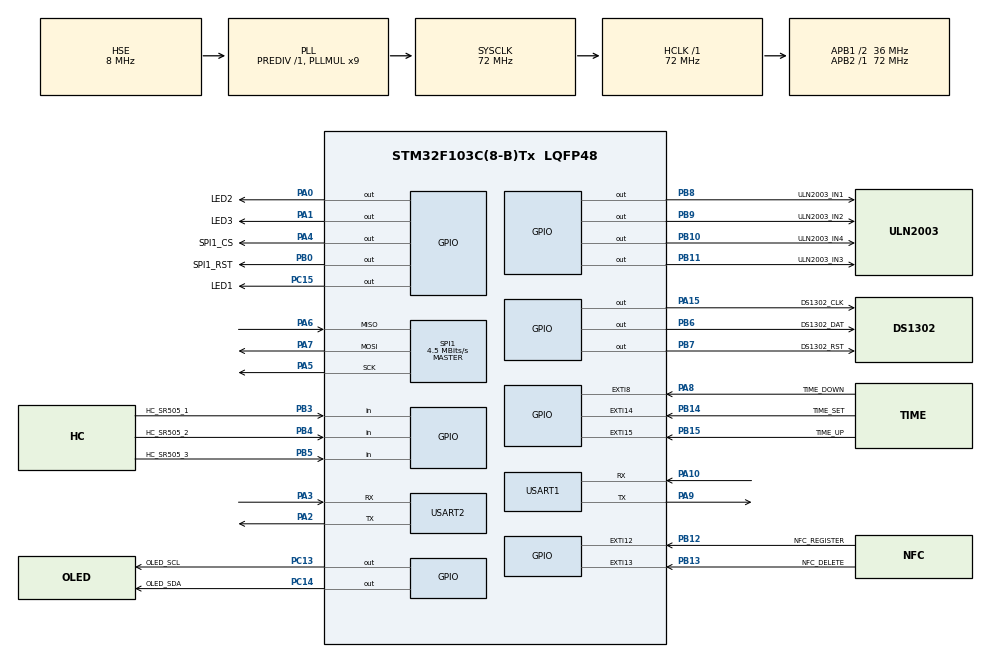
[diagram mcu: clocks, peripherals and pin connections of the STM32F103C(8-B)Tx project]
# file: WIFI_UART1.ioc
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Dma.Request0=USART1_TX
Dma.Request1=USART1_RX
Dma.USART1_RX.1.Direction=DMA_PERIPH_TO_MEMORY
Dma.USART1_RX.1.Instance=DMA1_Channel5
Dma.USART1_RX.1.MemDataAlignment=DMA_MDATAALIGN_BYTE
Dma.USART1_RX.1.MemInc=DMA_MINC_ENABLE
Dma.USART1_RX.1.Mode=DMA_NORMAL
Dma.USART1_RX.1.PeriphDataAlignment=DMA_PDATAALIGN_BYTE
Dma.USART1_RX.1.PeriphInc=DMA_PINC_DISABLE
Dma.USART1_RX.1.Priority=DMA_PRIORITY_LOW
Dma.USART1_TX.0.Direction=DMA_MEMORY_TO_PERIPH
Dma.USART1_TX.0.Instance=DMA1_Channel4
Dma.USART1_TX.0.MemDataAlignment=DMA_MDATAALIGN_BYTE
Dma.USART1_TX.0.MemInc=DMA_MINC_ENABLE
Dma.USART1_TX.0.Mode=DMA_NORMAL
Dma.USART1_TX.0.PeriphDataAlignment=DMA_PDATAALIGN_BYTE
Dma.USART1_TX.0.PeriphInc=DMA_PINC_DISABLE
Dma.USART1_TX.0.Priority=DMA_PRIORITY_LOW
Mcu.Family=STM32F1
Mcu.Name=STM32F103C(8-B)Tx
Mcu.Package=LQFP48
NVIC.DMA1_Channel4_IRQn=true\:0\:0\:false\:false\:true\:false\:true\:true
NVIC.DMA1_Channel5_IRQn=true\:0\:0\:false\:false\:true\:false\:true\:true
NVIC.EXTI15_10_IRQn=true\:0\:0\:false\:false\:true\:true\:true\:true
NVIC.EXTI9_5_IRQn=true\:0\:0\:false\:false\:true\:true\:true\:true
NVIC.PriorityGroup=NVIC_PRIORITYGROUP_4
NVIC.SPI1_IRQn=true\:0\:0\:false\:false\:true\:true\:true\:true
NVIC.TIM4_IRQn=true\:3\:0\:true\:false\:true\:true\:true\:true
NVIC.USART1_IRQn=true\:2\:0\:true\:false\:true\:true\:true\:true
PA0-WKUP.GPIO_Label=LED2
PA0-WKUP.GPIO_PuPd=GPIO_PULLUP
PA0-WKUP.GPIO_Speed=GPIO_SPEED_FREQ_HIGH
PA0-WKUP.PinState=GPIO_PIN_SET
PA0-WKUP.Signal=GPIO_Output
PA1.GPIO_Label=LED3
PA1.GPIO_ModeDefaultOutputPP=GPIO_MODE_OUTPUT_PP
PA1.GPIO_PuPd=GPIO_PULLUP
PA1.GPIO_Speed=GPIO_SPEED_FREQ_HIGH
PA1.PinState=GPIO_PIN_SET
PA1.Signal=GPIO_Output
PA10.Mode=Asynchronous
PA10.Signal=USART1_RX
PA13.Mode=Serial_Wire
PA13.Signal=SYS_JTMS-SWDIO
PA14.Mode=Serial_Wire
PA14.Signal=SYS_JTCK-SWCLK
PA15.GPIO_Label=DS1302_CLK
PA15.Signal=GPIO_Output
PA2.Mode=Asynchronous
PA2.Signal=USART2_TX
PA3.Mode=Asynchronous
PA3.Signal=USART2_RX
PA4.GPIO_Label=SPI1_CS
PA4.GPIO_ModeDefaultOutputPP=GPIO_MODE_OUTPUT_PP
PA4.GPIO_PuPd=GPIO_PULLUP
PA4.GPIO_Speed=GPIO_SPEED_FREQ_HIGH
PA4.PinState=GPIO_PIN_SET
PA4.Signal=GPIO_Output
PA5.Mode=Full_Duplex_Master
PA5.Signal=SPI1_SCK
PA6.Mode=Full_Duplex_Master
PA6.Signal=SPI1_MISO
PA7.Mode=Full_Duplex_Master
PA7.Signal=SPI1_MOSI
PA8.GPIO_Label=TIME_DOWN
PA8.GPIO_ModeDefaultEXTI=GPIO_MODE_IT_FALLING
PA8.GPIO_PuPd=GPIO_PULLUP
PA8.Signal=GPXTI8
PA9.Mode=Asynchronous
PA9.Signal=USART1_TX
PB0.GPIO_Label=SPI1_RST
PB0.GPIO_ModeDefaultOutputPP=GPIO_MODE_OUTPUT_PP
PB0.GPIO_PuPd=GPIO_PULLUP
PB0.GPIO_Speed=GPIO_SPEED_FREQ_HIGH
PB0.PinState=GPIO_PIN_SET
PB0.Signal=GPIO_Output
PB10.GPIO_Label=ULN2003_IN4
PB10.GPIO_ModeDefaultOutputPP=GPIO_MODE_OUTPUT_PP
PB10.GPIO_PuPd=GPIO_PULLUP
PB10.GPIO_Speed=GPIO_SPEED_FREQ_HIGH
PB10.PinState=GPIO_PIN_SET
PB10.Signal=GPIO_Output
PB11.GPIO_Label=ULN2003_IN3
PB11.GPIO_ModeDefaultOutputPP=GPIO_MODE_OUTPUT_PP
PB11.GPIO_PuPd=GPIO_PULLUP
PB11.GPIO_Speed=GPIO_SPEED_FREQ_HIGH
PB11.PinState=GPIO_PIN_SET
PB11.Signal=GPIO_Output
PB12.GPIO_Label=NFC_REGISTER
PB12.GPIO_ModeDefaultEXTI=GPIO_MODE_IT_FALLING
PB12.GPIO_PuPd=GPIO_PULLUP
PB12.Signal=GPXTI12
PB13.GPIO_Label=NFC_DELETE
PB13.GPIO_ModeDefaultEXTI=GPIO_MODE_IT_FALLING
PB13.GPIO_PuPd=GPIO_PULLUP
PB13.Signal=GPXTI13
PB14.GPIO_Label=TIME_SET
PB14.GPIO_ModeDefaultEXTI=GPIO_MODE_IT_FALLING
PB14.GPIO_PuPd=GPIO_PULLUP
PB14.Signal=GPXTI14
PB15.GPIO_Label=TIME_UP
PB15.GPIO_ModeDefaultEXTI=GPIO_MODE_IT_FALLING
PB15.GPIO_PuPd=GPIO_PULLUP
PB15.Signal=GPXTI15
PB3.GPIO_Label=HC_SR505_1
PB3.GPIO_PuPd=GPIO_PULLDOWN
PB3.Signal=GPIO_Input
PB4.GPIO_Label=HC_SR505_2
PB4.GPIO_PuPd=GPIO_PULLDOWN
PB4.Signal=GPIO_Input
PB5.GPIO_Label=HC_SR505_3
PB5.GPIO_PuPd=GPIO_PULLDOWN
PB5.Signal=GPIO_Input
PB6.GPIO_Label=DS1302_DAT
PB6.Signal=GPIO_Output
PB7.GPIO_Label=DS1302_RST
PB7.Signal=GPIO_Output
PB8.GPIO_Label=ULN2003_IN1
PB8.GPIO_PuPd=GPIO_PULLUP
PB8.GPIO_Speed=GPIO_SPEED_FREQ_HIGH
PB8.Signal=GPIO_Output
PB9.GPIO_Label=ULN2003_IN2
PB9.GPIO_PuPd=GPIO_PULLUP
PB9.GPIO_Speed=GPIO_SPEED_FREQ_HIGH
PB9.Signal=GPIO_Output
PC13-TAMPER-RTC.GPIO_Label=OLED_SCL
PC13-TAMPER-RTC.GPIO_PuPd=GPIO_PULLUP
PC13-TAMPER-RTC.GPIO_Speed=GPIO_SPEED_FREQ_HIGH
PC13-TAMPER-RTC.PinState=GPIO_PIN_SET
PC13-TAMPER-RTC.Signal=GPIO_Output
PC14-OSC32_IN.GPIO_Label=OLED_SDA
PC14-OSC32_IN.GPIO_PuPd=GPIO_PULLUP
PC14-OSC32_IN.GPIO_Speed=GPIO_SPEED_FREQ_HIGH
PC14-OSC32_IN.PinState=GPIO_PIN_SET
PC14-OSC32_IN.Signal=GPIO_Output
PC15-OSC32_OUT.GPIO_Label=LED1
PC15-OSC32_OUT.GPIO_ModeDefaultOutputPP=GPIO_MODE_OUTPUT_PP
PC15-OSC32_OUT.GPIO_PuPd=GPIO_PULLUP
PC15-OSC32_OUT.GPIO_Speed=GPIO_SPEED_FREQ_HIGH
PC15-OSC32_OUT.Signal=GPIO_Output
PD0-OSC_IN.Mode=HSE-External-Oscillator
PD0-OSC_IN.Signal=RCC_OSC_IN
PD1-OSC_OUT.Mode=HSE-External-Oscillator
PD1-OSC_OUT.Signal=RCC_OSC_OUT
ProjectManager.HeapSize=0x200
ProjectManager.StackSize=0x400
ProjectManager.TargetToolchain=MDK-ARM V5.32
RCC.AHBFreq_Value=72000000
RCC.APB1CLKDivider=RCC_HCLK_DIV2
RCC.APB1Freq_Value=36000000
RCC.APB1TimFreq_Value=72000000
RCC.APB2Freq_Value=72000000
RCC.APB2TimFreq_Value=72000000
RCC.HCLKFreq_Value=72000000
RCC.PLLMUL=RCC_PLL_MUL9
RCC.PLLSourceVirtual=RCC_PLLSOURCE_HSE
RCC.SYSCLKFreq_VALUE=72000000
RCC.SYSCLKSource=RCC_SYSCLKSOURCE_PLLCLK
RCC.USBFreq_Value=72000000
SPI1.BaudRatePrescaler=SPI_BAUDRATEPRESCALER_16
SPI1.CalculateBaudRate=4.5 MBits/s
SPI1.Direction=SPI_DIRECTION_2LINES
SPI1.Mode=SPI_MODE_MASTER
SPI1.VirtualType=VM_MASTER
TIM4.Period=9999
TIM4.Prescaler=7199
USART1.VirtualMode=VM_ASYNC
USART2.VirtualMode=VM_ASYNC
VP_TIM4_VS_ClockSourceINT.Mode=Internal
board=custom

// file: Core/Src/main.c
/* USER CODE BEGIN Header */
/**
  ******************************************************************************
  * @file           : main.c
  * @brief          : Main program body
  ******************************************************************************
  * @attention
  *
  * Copyright (c) 2026 STMicroelectronics.
  * All rights reserved.
  *
  * This software is licensed under terms that can be found in the LICENSE file
  * in the root directory of this software component.
  * If no LICENSE file comes with this software, it is provided AS-IS.
  *
  ******************************************************************************
  */
/* USER CODE END Header */
#include "main.h"
#include "dma.h"
#include "spi.h"
#include "tim.h"
#include "usart.h"
#include "gpio.h"

/* USER CODE BEGIN Includes */
#include "delay.h"
#include "esp8266.h"
#include "oled.h"
#include "hc_sr505.h"
#include "uln2003.h"
#include "rc522.h"
#include "ds1302.h"
#include "flash.h"
#include "mqtt_publisher.h"
/* USER CODE END Includes */

/* USER CODE BEGIN PTD */
#define TEST 0
/* USER CODE END PTD */

/* USER CODE BEGIN PV */
uint8_t oled_show_active = 0;
/* USER CODE END PV */

void SystemClock_Config(void);

int main(void)
{

  /* USER CODE BEGIN 1 */
  uint8_t wifi_try = 0, mqtt_try = 0;
		  uint8_t cardid[4]={0x00,0x00,0x00,0x00};
	char data_show[20];
			uint8_t g_ucTempbuf[20];
	uint32_t oled_show_time = 0;

		// 卡片进出状态跟踪数组，与Flash中的ID存储位置对应
		// 0=卡片在内部（已进），1=卡片在外部（已出或未进）
		uint8_t card_status[10] = {1, 1, 1, 1, 1, 1, 1, 1, 1, 1}; // 默认所有卡片都在外部
		char time_str[20]; // 时间字符串缓冲区

		// 防重复检测变量
		uint8_t last_cardid[4] = {0x00, 0x00, 0x00, 0x00}; // 上次检测到的卡号
		uint8_t card_present = 0; // 卡片是否在场：0=不在，1=在场
  /* USER CODE END 1 */

  /* MCU Configuration--------------------------------------------------------*/

  /* Reset of all peripherals, Initializes the Flash interface and the Systick. */
  HAL_Init();

  /* Configure the system clock */
  SystemClock_Config();

  /* Initialize all configured peripherals */
  MX_GPIO_Init();
  MX_DMA_Init();
  MX_USART1_UART_Init();
  MX_TIM4_Init();
  MX_USART2_UART_Init();
  MX_SPI1_Init();
  /* USER CODE BEGIN 2 */
	//NFC初始化
	PCD_Reset();
  PCD_AntennaOff();
  PCD_AntennaOn();
  Delay_Init();
	OLED_Init();
	DS1302_Init();
	ULN2003_Init();
	Flash_Init();

	#if TEST
	  //OLED TEST
//	 OLED_ShowString(0,0,(uint8_t*)"hello",8,1);
//	 OLED_ShowString(0,8,(uint8_t*)"Welcome",8,1);
//	 OLED_Refresh();
	#endif
  /* USER CODE END 2 */

  /* Infinite loop */
  /* USER CODE BEGIN WHILE */
	ESP8266_Init();
//

  //WIFI连接
  while (wifi_try < 5 && !ESP8266_ConnectWiFi())
  {
      HAL_UART_Transmit(&huart2, (uint8_t*)"WiFi connect retry\r\n", 20, 100);
      wifi_try++;
      delay_ms(1000);
  }
  //上云
	if(ESP8266_ConnectCloud()==false)
	{
		  HAL_UART_Transmit(&huart2, (uint8_t*)"ConnectCloud failed\r\n", 22, 100);
		  while(1);
	}

	// 订阅发布属性回复主题（OneNET要求）
	if(!ESP8266_MQTT_Subscribe(MQTT_TOPIC_POST_REPLY,1))
	{
		  HAL_UART_Transmit(&huart2, (uint8_t*)"MQTT subscribe post_reply failed\r\n", 32, 100);
		  while(1);
	}

	if(!ESP8266_MQTT_Subscribe(MQTT_TOPIC_SET,0))
	{
		  HAL_UART_Transmit(&huart2, (uint8_t*)"MQTT subscribe failed\r\n", 22, 100);
		  while(1);
	}
	// 启动定时器4，用于每秒读取DS1302时间
	HAL_TIM_Base_Start_IT(&htim4);

	// 初始化NFC检测时间戳
	uint32_t nfc_last_check_time = 0;
	const uint32_t NFC_CHECK_INTERVAL = 100; // NFC检测间隔100ms

	OLED_Clear();
  while (1)
  {
    /* USER CODE END WHILE */

    /* USER CODE BEGIN 3 */
		#if 1
		uint8_t cardid[4] = {0x00, 0x00, 0x00, 0x00};
		char data_show[20];
		uint32_t current_time = HAL_GetTick();

		// 处理非阻塞式电机控制（每次循环都调用，确保电机转动流畅）
		ULN2003_Handle_NB();
		ESP8266_ProcessMessages();

		// 处理时间显示更新（从定时器中断中移出，避免与OLED冲突）
		show_time_from_main();

		// NFC检测使用基于时间戳的间隔控制
		if((current_time - nfc_last_check_time) >= NFC_CHECK_INTERVAL)
		{
			nfc_last_check_time = current_time;

			if(nfc_register_mode && nfc_delete_mode)
			{
				HAL_UART_Transmit(&huart2, (uint8_t*)"ERROR: Both modes ON\r\n", 22, 100);
				nfc_register_mode = false;
				nfc_delete_mode = false;
			}

			if(nfc_register_mode)
			{
				HAL_UART_Transmit(&huart2, (uint8_t*)"Reg mode\r\n", 10, 100);
				if(PCD_Request(PICC_REQALL, g_ucTempbuf) == PCD_OK)
				{
					if(PCD_Anticoll(cardid) == PCD_OK)
					{
						uint8_t found = Flash_FindID(cardid);
						if(found == 0xFF)
						{
							uint8_t ids[40];
							Flash_ReadIDs(ids);
							uint8_t empty_index = 0xFF;
							for(uint8_t i = 0; i < 10; i++)
							{
								uint8_t empty = 1;
								for(uint8_t j = 0; j < 4; j++)
								{
									if(ids[i * 4 + j] != 0xFF)
									{
										empty = 0;
										break;
									}
								}
								if(empty)
								{
									empty_index = i;
									break;
								}
							}
							if(empty_index != 0xFF)
							{
								Flash_WriteID(empty_index, cardid);
								sprintf(data_show, "Reg:%02X%02X%02X%02X", cardid[0], cardid[1], cardid[2], cardid[3]);
								// 清空第1、2、3行
								OLED_ShowString(0, 8, (uint8_t*)"                ", 8, 1);
								OLED_ShowString(0, 16, (uint8_t*)"                ", 8, 1);
								OLED_ShowString(0, 24, (uint8_t*)"                ", 8, 1);
								OLED_ShowString(0, 8, (uint8_t*)data_show, 8, 1);
								oled_show_time = HAL_GetTick();
								oled_show_active = 1;
							}
							else
							{
								// 清空第1、2、3行
								OLED_ShowString(0, 8, (uint8_t*)"                ", 8, 1);
								OLED_ShowString(0, 16, (uint8_t*)"                ", 8, 1);
								OLED_ShowString(0, 24, (uint8_t*)"                ", 8, 1);
								OLED_ShowString(0, 8, (uint8_t*)"Full", 8, 1);
								oled_show_time = HAL_GetTick();
								oled_show_active = 1;
							}
							OLED_Refresh();
							PCD_Halt();
							nfc_register_mode = false;
							HAL_UART_Transmit(&huart2, (uint8_t*)"Reg mode exit\r\n", 15, 100);
						}
						else
						{
							// 清空第1、2、3行
							OLED_ShowString(0, 8, (uint8_t*)"                ", 8, 1);
							OLED_ShowString(0, 16, (uint8_t*)"                ", 8, 1);
							OLED_ShowString(0, 24, (uint8_t*)"                ", 8, 1);
							OLED_ShowString(0, 8, (uint8_t*)"ID already reg", 8, 1);
							OLED_Refresh();
							delay_ms(1000);
							OLED_ShowString(0, 8, (uint8_t*)"                ", 8, 1);
							OLED_Refresh();
							nfc_register_mode = false;
							PCD_Halt();
							HAL_UART_Transmit(&huart2, (uint8_t*)"Reg mode exit\r\n", 15, 100);
						}
					}
				}
			}
			else if(nfc_delete_mode)
			{
				HAL_UART_Transmit(&huart2, (uint8_t*)"Del mode\r\n", 10, 100);
				if(PCD_Request(PICC_REQALL, g_ucTempbuf) == PCD_OK)
				{
					HAL_UART_Transmit(&huart2, (uint8_t*)"Card detected\r\n", 15, 100);
					if(PCD_Anticoll(cardid) == PCD_OK)
					{
						HAL_UART_Transmit(&huart2, (uint8_t*)"Card ID read\r\n", 14, 100);
						uint8_t found = Flash_FindID(cardid);
						if(found != 0xFF)
						{
							Flash_DeleteID(found);
							delay_ms(500);
							sprintf(data_show, "Del:%02X%02X%02X%02X", cardid[0], cardid[1], cardid[2], cardid[3]);
							// 清空第1、2、3行
							OLED_ShowString(0, 8, (uint8_t*)"                ", 8, 1);
							OLED_ShowString(0, 16, (uint8_t*)"                ", 8, 1);
							OLED_ShowString(0, 24, (uint8_t*)"                ", 8, 1);
							OLED_ShowString(0, 8, (uint8_t*)data_show, 8, 1);
							oled_show_time = HAL_GetTick();
							oled_show_active = 1;
						}
						else
						{
							delay_ms(500);
							// 清空第1、2、3行
							OLED_ShowString(0, 8, (uint8_t*)"                ", 8, 1);
							OLED_ShowString(0, 16, (uint8_t*)"                ", 8, 1);
							OLED_ShowString(0, 24, (uint8_t*)"                ", 8, 1);
							OLED_ShowString(0, 8, (uint8_t*)"Illegal card", 8, 1);
							oled_show_time = HAL_GetTick();
							oled_show_active = 1;
						}
						OLED_Refresh();
						delay_ms(2000);
						PCD_Halt();
						nfc_delete_mode = false;
					}
				}
			}
			else
			{
				if(PCD_Request(PICC_REQALL, g_ucTempbuf) == PCD_OK)
				{
					if(PCD_Anticoll(cardid) == PCD_OK)
					{
						// 检查是否是同一张卡片且未离开
						if(card_present &&
						   last_cardid[0] == cardid[0] && last_cardid[1] == cardid[1] &&
						   last_cardid[2] == cardid[2] && last_cardid[3] == cardid[3])
						{
							// 同一张卡片，尚未离开，忽略此次检测
							PCD_Halt();
						}
						else
						{
							// 新卡片或卡片已离开后再次靠近
							uint8_t found = Flash_FindID(cardid);

							if(found != 0xFF)
							{
								// 记录当前卡片信息
								last_cardid[0] = cardid[0];
								last_cardid[1] = cardid[1];
								last_cardid[2] = cardid[2];
								last_cardid[3] = cardid[3];
								card_present = 1;

								// 获取当前时间
								DS1302_Time current_time;
								DS1302_GetTime(&current_time);

								// 清空第1、2、3行
								OLED_ShowString(0, 8, (uint8_t*)"                ", 8, 1);
								OLED_ShowString(0, 16, (uint8_t*)"                ", 8, 1);
								OLED_ShowString(0, 24, (uint8_t*)"                ", 8, 1);
								OLED_ShowString(0, 32, (uint8_t*)"                ", 8, 1);
								OLED_ShowString(0, 40, (uint8_t*)"                ", 8, 1);
								OLED_ShowString(0, 48, (uint8_t*)"                ", 8, 1);
								OLED_ShowString(0, 56, (uint8_t*)"                ", 8, 1);
								// 判断卡片状态并切换
								if(card_status[found] == 1)
								{
									// 卡片在外部，现在进入
									card_status[found] = 0;
									sprintf(data_show, "IN %02d:%02d:%02d", current_time.hour, current_time.minute, current_time.second);
								}
								else
								{
									// 卡片在内部，现在出去
									card_status[found] = 1;
									sprintf(data_show, "OUT %02d:%02d:%02d", current_time.hour, current_time.minute, current_time.second);
								}

								// 在第8行显示卡号
								sprintf(time_str, "ID:%02X%02X%02X%02X", cardid[0], cardid[1], cardid[2], cardid[3]);
								OLED_ShowString(0, 8, (uint8_t*)time_str, 8, 1);

								// 在第16行显示IN/OUT和时间
								OLED_ShowString(0, 16, (uint8_t*)data_show, 8, 1);

								// 在第24行显示座位状态
								if(card_status[found] == 0)
								{
									// 卡片进入，显示 Take seat 0
									OLED_ShowString(0, 24, (uint8_t*)"Take seat 0", 8, 1);
								}
								else
								{
									// 卡片出去，显示 Leave seat 0
									OLED_ShowString(0, 24, (uint8_t*)"Leave seat 0", 8, 1);
								}

								oled_show_time = HAL_GetTick();
								oled_show_active = 1;
								OLED_Refresh();

								HAL_UART_Transmit(&huart2, (uint8_t*)"Motor start\r\n", 12, 100);
								// 使用非阻塞式启动电机
								ULN2003_StartForward_NB(100);
								HAL_UART_Transmit(&huart2, (uint8_t*)"Motor started (NB)\r\n", 19, 100);
							}
							else
							{
								// 清空第1、2、3行
								OLED_ShowString(0, 8, (uint8_t*)"                ", 8, 1);
								OLED_ShowString(0, 16, (uint8_t*)"                ", 8, 1);
								OLED_ShowString(0, 24, (uint8_t*)"                ", 8, 1);
								OLED_ShowString(0, 8, (uint8_t*)"Illegal card", 8, 1);
								oled_show_time = HAL_GetTick();
								oled_show_active = 1;
								OLED_Refresh();
							}
							PCD_Halt();
						}
					}
					else
					{
						// 检测不到卡片，重置在场标志
						card_present = 0;
					}
				}
				else
				{
					// 检测不到卡片，重置在场标志
					card_present = 0;
				}
			}
		}

		if(oled_show_active && (HAL_GetTick() - oled_show_time) > 3000)
		{
			// 清除第8行（卡号）
			OLED_ShowString(0, 8, (uint8_t*)"                ", 8, 1);
			// 清除第16行（IN/OUT+时间）
			OLED_ShowString(0, 16, (uint8_t*)"                ", 8, 1);
			// 清除第24行（座位状态）
			OLED_ShowString(0, 24, (uint8_t*)"                ", 8, 1);
			OLED_Refresh();
			oled_show_active = 0;
		}

		// 非阻塞式检测HC_SR505传感器
		CheckAllHC_SR505_NB();

		// 短延时，确保主循环快速执行，电机控制流畅
		delay_ms(5);
		#endif
//		MQTT_Publish_SET1("true");
//		HAL_Delay(2000);
  }
  /* USER CODE END 3 */
}

void SystemClock_Config(void)
{
  RCC_OscInitTypeDef RCC_OscInitStruct = {0};
  RCC_ClkInitTypeDef RCC_ClkInitStruct = {0};

  /** Initializes the RCC Oscillators according to the specified parameters
  * in the RCC_OscInitTypeDef structure.
  */
  RCC_OscInitStruct.OscillatorType = RCC_OSCILLATORTYPE_HSE;
  RCC_OscInitStruct.HSEState = RCC_HSE_ON;
  RCC_OscInitStruct.HSEPredivValue = RCC_HSE_PREDIV_DIV1;
  RCC_OscInitStruct.HSIState = RCC_HSI_ON;
  RCC_OscInitStruct.PLL.PLLState = RCC_PLL_ON;
  RCC_OscInitStruct.PLL.PLLSource = RCC_PLLSOURCE_HSE;
  RCC_OscInitStruct.PLL.PLLMUL = RCC_PLL_MUL9;
  if (HAL_RCC_OscConfig(&RCC_OscInitStruct) != HAL_OK)
  {
    Error_Handler();
  }

  /** Initializes the CPU, AHB and APB buses clocks
  */
  RCC_ClkInitStruct.ClockType = RCC_CLOCKTYPE_HCLK|RCC_CLOCKTYPE_SYSCLK
                              |RCC_CLOCKTYPE_PCLK1|RCC_CLOCKTYPE_PCLK2;
  RCC_ClkInitStruct.SYSCLKSource = RCC_SYSCLKSOURCE_PLLCLK;
  RCC_ClkInitStruct.AHBCLKDivider = RCC_SYSCLK_DIV1;
  RCC_ClkInitStruct.APB1CLKDivider = RCC_HCLK_DIV2;
  RCC_ClkInitStruct.APB2CLKDivider = RCC_HCLK_DIV1;

  if (HAL_RCC_ClockConfig(&RCC_ClkInitStruct, FLASH_LATENCY_2) != HAL_OK)
  {
    Error_Handler();
  }
}

/* USER CODE BEGIN 4 */
//相关测试
		#if TEST
//		OLED_Clear();
//	  OLED_ShowString(0,0,(uint8_t*)"TEST",8,1);
//	  OLED_Refresh();

	  // 读取当前时间并显示
//		DS1302_Time current_time;
//		DS1302_GetTime(&current_time);

		// 格式化时间字符串
//		char time_str[40];
//		sprintf(time_str, "20%02d-%02d-%02d %02d:%02d:%02d", current_time.year, current_time.month, current_time.date,current_time.hour,current_time.minute,current_time.second);
//		OLED_ShowString(0, 8, (uint8_t*)time_str, 8, 1);
//		 OLED_Refresh();
//		HAL_Delay(1000);
//
//		OLED_Refresh();
//	 //HCSR505_TEST
//	 CheckHC_SR505(HC_SR505_1_GPIO_Port, HC_SR505_1_Pin, LED1_GPIO_Port, LED1_Pin, &hc_sr505_counter1);
//	 // 检测HC_SR505_2状态并控制LED2
//	 CheckHC_SR505(HC_SR505_2_GPIO_Port, HC_SR505_2_Pin, LED2_GPIO_Port, LED2_Pin, &hc_sr505_counter2);
//	 // 检测HC_SR505_3状态并控制LED3
//		CheckHC_SR505(HC_SR505_3_GPIO_Port, HC_SR505_3_Pin, LED3_GPIO_Port, LED3_Pin, &hc_sr505_counter3);

		//步进电机测试
		//ULN2003_Rotate(90,0);

//		if(PCD_Request(PICC_REQALL, g_ucTempbuf)!=PCD_OK) //寻卡
//	 {
////		PCD_Reset();
////		PCD_AntennaOff();
////		PCD_AntennaOn();
////	  continue;
//	 }
//			 if(PCD_Anticoll(cardid)==PCD_OK)
//	 {
//		 sprintf(data_show,"id:%02x%02x%02x%02x",cardid[0],cardid[1],cardid[2],cardid[3]);
//	   OLED_ShowString(0,8,(uint8_t*)data_show,8,1);
//     OLED_Refresh();
//	 }
	 #endif
/* USER CODE END 4 */

void Error_Handler(void)
{
  __disable_irq();
  while (1)
  {
  }
}
